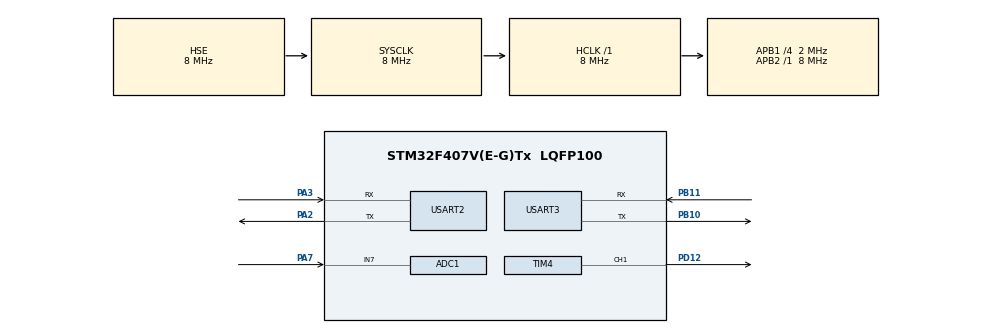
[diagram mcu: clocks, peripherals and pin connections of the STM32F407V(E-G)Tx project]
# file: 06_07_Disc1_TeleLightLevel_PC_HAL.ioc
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ADC1.Channel-0\#ChannelRegularConversion=ADC_CHANNEL_7
ADC1.NbrOfConversionFlag=1
ADC1.Rank-0\#ChannelRegularConversion=1
ADC1.SamplingTime-0\#ChannelRegularConversion=ADC_SAMPLETIME_15CYCLES
ADC1.master=1
Mcu.Family=STM32F4
Mcu.Name=STM32F407V(E-G)Tx
Mcu.Package=LQFP100
NVIC.PriorityGroup=NVIC_PRIORITYGROUP_4
PA2.Mode=Asynchronous
PA2.Signal=USART2_TX
PA3.Mode=Asynchronous
PA3.Signal=USART2_RX
PA7.Signal=ADCx_IN7
PB10.Mode=Asynchronous
PB10.Signal=USART3_TX
PB11.Mode=Asynchronous
PB11.Signal=USART3_RX
PD12.Signal=S_TIM4_CH1
PH0-OSC_IN.Mode=HSE-External-Oscillator
PH0-OSC_IN.Signal=RCC_OSC_IN
PH1-OSC_OUT.Mode=HSE-External-Oscillator
PH1-OSC_OUT.Signal=RCC_OSC_OUT
ProjectManager.HeapSize=0x200
ProjectManager.StackSize=0x400
ProjectManager.TargetToolchain=STM32CubeIDE
RCC.48MHZClocksFreq_Value=24000000
RCC.AHBFreq_Value=8000000
RCC.APB1CLKDivider=RCC_HCLK_DIV4
RCC.APB1Freq_Value=2000000
RCC.APB1TimFreq_Value=4000000
RCC.APB2Freq_Value=8000000
RCC.APB2TimFreq_Value=8000000
RCC.CortexFreq_Value=8000000
RCC.HCLKFreq_Value=8000000
RCC.HSE_VALUE=8000000
RCC.HSI_VALUE=16000000
RCC.LSE_VALUE=32768
RCC.PLLSourceVirtual=RCC_PLLSOURCE_HSE
RCC.SYSCLKFreq_VALUE=8000000
RCC.SYSCLKSource=RCC_SYSCLKSOURCE_HSE
RCC.VCOOutputFreq_Value=96000000
SH.ADCx_IN7.0=ADC1_IN7,IN7
SH.S_TIM4_CH1.0=TIM4_CH1,PWM Generation1 CH1
TIM4.Channel-PWM\ Generation1\ CH1=TIM_CHANNEL_1
TIM4.Period=100
USART2.VirtualMode=VM_ASYNC
USART3.VirtualMode=VM_ASYNC
board=custom

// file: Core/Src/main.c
/* USER CODE BEGIN Header */
/**
  ******************************************************************************
  * @file           : main.c
  * @brief          : Main program body
  ******************************************************************************
  * @attention
  *
  * Copyright (c) 2025 STMicroelectronics.
  * All rights reserved.
  *
  * This software is licensed under terms that can be found in the LICENSE file
  * in the root directory of this software component.
  * If no LICENSE file comes with this software, it is provided AS-IS.
  *
  ******************************************************************************
  */
/* USER CODE END Header */
#include "main.h"

ADC_HandleTypeDef hadc1;

TIM_HandleTypeDef htim4;

UART_HandleTypeDef huart2;
UART_HandleTypeDef huart3;

void SystemClock_Config(void);
static void MX_GPIO_Init(void);
static void MX_ADC1_Init(void);
static void MX_TIM4_Init(void);
static void MX_USART2_UART_Init(void);
static void MX_USART3_UART_Init(void);
/* USER CODE BEGIN PFP */

void toString(char str[2], uint8_t num);

/* USER CODE END PFP */

int main(void)
{

  /* USER CODE BEGIN 1 */
  uint8_t duty = 0;
  uint16_t adcValue = 0;
  char strDuty[3];
  /* USER CODE END 1 */

  /* MCU Configuration--------------------------------------------------------*/

  /* Reset of all peripherals, Initializes the Flash interface and the Systick. */
  HAL_Init();

  /* Configure the system clock */
  SystemClock_Config();

  /* Initialize all configured peripherals */
  MX_GPIO_Init();
  MX_ADC1_Init();
  MX_TIM4_Init();
  MX_USART2_UART_Init();
  MX_USART3_UART_Init();
  /* USER CODE BEGIN 2 */
  TIM4->CCR1 = duty;
  HAL_TIM_PWM_Start(&htim4, TIM_CHANNEL_1);

  /* USER CODE END 2 */

  /* Infinite loop */
  /* USER CODE BEGIN WHILE */
  while (1)
  {
	  HAL_ADC_Start(&hadc1);
	  HAL_ADC_PollForConversion(&hadc1, 100);
	  adcValue = HAL_ADC_GetValue(&hadc1);
	  duty = (adcValue/4096.1) * 100;
	  HAL_ADC_Stop(&hadc1);

	  TIM4->CCR1 = duty;
	  HAL_UART_Transmit(&huart2, &duty, 1, 20);

	  toString(strDuty, duty);
	  HAL_UART_Transmit(&huart3, strDuty, 3, 100);
	  HAL_UART_Transmit(&huart3, ",", 1, 10);
	  // does channel 1 work or i have fried it? nope :'(

    /* USER CODE END WHILE */

  }
}

void SystemClock_Config(void)
{
  RCC_OscInitTypeDef RCC_OscInitStruct = {0};
  RCC_ClkInitTypeDef RCC_ClkInitStruct = {0};

  /** Configure the main internal regulator output voltage
  */
  __HAL_RCC_PWR_CLK_ENABLE();
  __HAL_PWR_VOLTAGESCALING_CONFIG(PWR_REGULATOR_VOLTAGE_SCALE1);

  /** Initializes the RCC Oscillators according to the specified parameters
  * in the RCC_OscInitTypeDef structure.
  */
  RCC_OscInitStruct.OscillatorType = RCC_OSCILLATORTYPE_HSE;
  RCC_OscInitStruct.HSEState = RCC_HSE_ON;
  RCC_OscInitStruct.PLL.PLLState = RCC_PLL_NONE;
  if (HAL_RCC_OscConfig(&RCC_OscInitStruct) != HAL_OK)
  {
    Error_Handler();
  }

  /** Initializes the CPU, AHB and APB buses clocks
  */
  RCC_ClkInitStruct.ClockType = RCC_CLOCKTYPE_HCLK|RCC_CLOCKTYPE_SYSCLK
                              |RCC_CLOCKTYPE_PCLK1|RCC_CLOCKTYPE_PCLK2;
  RCC_ClkInitStruct.SYSCLKSource = RCC_SYSCLKSOURCE_HSE;
  RCC_ClkInitStruct.AHBCLKDivider = RCC_SYSCLK_DIV1;
  RCC_ClkInitStruct.APB1CLKDivider = RCC_HCLK_DIV4;
  RCC_ClkInitStruct.APB2CLKDivider = RCC_HCLK_DIV1;

  if (HAL_RCC_ClockConfig(&RCC_ClkInitStruct, FLASH_LATENCY_0) != HAL_OK)
  {
    Error_Handler();
  }
}

static void MX_ADC1_Init(void)
{

  ADC_ChannelConfTypeDef sConfig = {0};

  /** Configure the global features of the ADC (Clock, Resolution, Data Alignment and number of conversion)
  */
  hadc1.Instance = ADC1;
  hadc1.Init.ClockPrescaler = ADC_CLOCK_SYNC_PCLK_DIV2;
  hadc1.Init.Resolution = ADC_RESOLUTION_12B;
  hadc1.Init.ScanConvMode = DISABLE;
  hadc1.Init.ContinuousConvMode = DISABLE;
  hadc1.Init.DiscontinuousConvMode = DISABLE;
  hadc1.Init.ExternalTrigConvEdge = ADC_EXTERNALTRIGCONVEDGE_NONE;
  hadc1.Init.ExternalTrigConv = ADC_SOFTWARE_START;
  hadc1.Init.DataAlign = ADC_DATAALIGN_RIGHT;
  hadc1.Init.NbrOfConversion = 1;
  hadc1.Init.DMAContinuousRequests = DISABLE;
  hadc1.Init.EOCSelection = ADC_EOC_SINGLE_CONV;
  if (HAL_ADC_Init(&hadc1) != HAL_OK)
  {
    Error_Handler();
  }

  /** Configure for the selected ADC regular channel its corresponding rank in the sequencer and its sample time.
  */
  sConfig.Channel = ADC_CHANNEL_7;
  sConfig.Rank = 1;
  sConfig.SamplingTime = ADC_SAMPLETIME_15CYCLES;
  if (HAL_ADC_ConfigChannel(&hadc1, &sConfig) != HAL_OK)
  {
    Error_Handler();
  }

}

static void MX_TIM4_Init(void)
{

  TIM_MasterConfigTypeDef sMasterConfig = {0};
  TIM_OC_InitTypeDef sConfigOC = {0};

  htim4.Instance = TIM4;
  htim4.Init.Prescaler = 0;
  htim4.Init.CounterMode = TIM_COUNTERMODE_UP;
  htim4.Init.Period = 100;
  htim4.Init.ClockDivision = TIM_CLOCKDIVISION_DIV1;
  htim4.Init.AutoReloadPreload = TIM_AUTORELOAD_PRELOAD_DISABLE;
  if (HAL_TIM_PWM_Init(&htim4) != HAL_OK)
  {
    Error_Handler();
  }
  sMasterConfig.MasterOutputTrigger = TIM_TRGO_RESET;
  sMasterConfig.MasterSlaveMode = TIM_MASTERSLAVEMODE_DISABLE;
  if (HAL_TIMEx_MasterConfigSynchronization(&htim4, &sMasterConfig) != HAL_OK)
  {
    Error_Handler();
  }
  sConfigOC.OCMode = TIM_OCMODE_PWM1;
  sConfigOC.Pulse = 0;
  sConfigOC.OCPolarity = TIM_OCPOLARITY_HIGH;
  sConfigOC.OCFastMode = TIM_OCFAST_DISABLE;
  if (HAL_TIM_PWM_ConfigChannel(&htim4, &sConfigOC, TIM_CHANNEL_1) != HAL_OK)
  {
    Error_Handler();
  }
  HAL_TIM_MspPostInit(&htim4);

}

static void MX_USART2_UART_Init(void)
{

  huart2.Instance = USART2;
  huart2.Init.BaudRate = 115200;
  huart2.Init.WordLength = UART_WORDLENGTH_8B;
  huart2.Init.StopBits = UART_STOPBITS_1;
  huart2.Init.Parity = UART_PARITY_NONE;
  huart2.Init.Mode = UART_MODE_TX_RX;
  huart2.Init.HwFlowCtl = UART_HWCONTROL_NONE;
  huart2.Init.OverSampling = UART_OVERSAMPLING_16;
  if (HAL_UART_Init(&huart2) != HAL_OK)
  {
    Error_Handler();
  }

}

static void MX_USART3_UART_Init(void)
{

  huart3.Instance = USART3;
  huart3.Init.BaudRate = 115200;
  huart3.Init.WordLength = UART_WORDLENGTH_8B;
  huart3.Init.StopBits = UART_STOPBITS_1;
  huart3.Init.Parity = UART_PARITY_NONE;
  huart3.Init.Mode = UART_MODE_TX_RX;
  huart3.Init.HwFlowCtl = UART_HWCONTROL_NONE;
  huart3.Init.OverSampling = UART_OVERSAMPLING_16;
  if (HAL_UART_Init(&huart3) != HAL_OK)
  {
    Error_Handler();
  }

}

static void MX_GPIO_Init(void)
{

  /* GPIO Ports Clock Enable */
  __HAL_RCC_GPIOH_CLK_ENABLE();
  __HAL_RCC_GPIOA_CLK_ENABLE();
  __HAL_RCC_GPIOB_CLK_ENABLE();
  __HAL_RCC_GPIOD_CLK_ENABLE();

}

/* USER CODE BEGIN 4 */
void toString(char str[3], uint8_t num){

	for(int i = 2; i >= 0; i--){
		if(num % 10 == 0){
			str[i] = '0';
		}
		else if (num % 10 == 1){
			str[i] = '1';
		}
		else if (num % 10 == 2){
			str[i] = '2';
		}
		else if (num % 10 == 3){
			str[i] = '3';
		}
		else if (num % 10 == 4){
			str[i] = '4';
		}
		else if (num % 10 == 5){
			str[i] = '5';
		}
		else if (num % 10 == 6){
			str[i] = '6';
		}
		else if (num % 10 == 7){
			str[i] = '7';
		}
		else if (num % 10 == 8){
			str[i] = '8';
		}
		else if (num % 10 == 9){
			str[i] = '9';
		}
		else{
			str[i] = '*';
		}
		num = num / 10;
	}

}

/* USER CODE END 4 */

void Error_Handler(void)
{
  __disable_irq();
  while (1)
  {
  }
}
